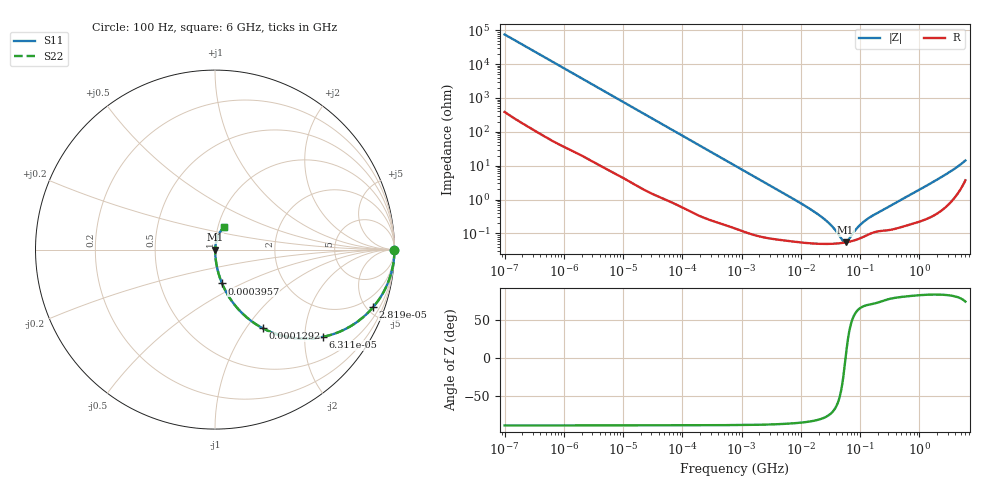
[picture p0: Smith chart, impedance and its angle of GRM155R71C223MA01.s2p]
!Murata Part Number: GRM155R71C223MA01
!These Parameters are Measured in Series Mode Connection
!Data Generated on Mar 30, 2021
!  o--ll--o
!Port1  Port2
!  o------o
!Operation Temp=25[degC], DC Bias Voltage=0[V]
!Freq. Start=100[Hz] Stop=6[GHz] 401[Steps]
# Hz S RI R 50
!Freq.(Hz) S11(Real) S11(Imag) S21(Real) S21(Imag) S12(Real) S12(Imag) S22(Real) S22(Imag)
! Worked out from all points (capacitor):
!   401 points, 100 Hz to 6 GHz, reference 50 ohm
!   read as one part in series: C = 21 nF near 109 Hz
!   lowest |Z| = 53.8 mohm at 56.99 MHz (marker M1)
!   series resonance near 56.94 MHz, so ESL is about 370 pH
!   S11 on the Smith chart (normalised r, x): 100 Hz: open; 28.19 kHz: 1.03, -5.47; 63.12 kHz: 1.02, -2.45; 129.2 kHz: 1.01, -1.20; 395.7 kHz: 1.00, -0.39; 6 GHz: 1.07, +0.28
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100  1 -0.00132  8.5e-06 0.00132  8.5e-06 0.00132  1 -0.00132
2008  0.9992 -0.0263  0.000828 0.0263  0.000828 0.0263  0.9992 -0.0263
8801  0.9864 -0.113  0.0136 0.113  0.0136 0.113  0.9864 -0.113
28191  0.8805 -0.3215  0.1195 0.3215  0.1195 0.3215  0.8805 -0.3215
40335  0.7838 -0.4085  0.2162 0.4085  0.2162 0.4085  0.7838 -0.4085
63115  0.5992 -0.4866  0.4008 0.4866  0.4008 0.4866  0.5992 -0.4866
129199  0.2664 -0.4382  0.7336 0.4382  0.7336 0.4382  0.2664 -0.4382
211427  0.121 -0.322  0.879 0.322  0.879 0.322  0.121 -0.322
395726  0.0391 -0.1887  0.9609 0.1887  0.9609 0.1887  0.0391 -0.1887
774597  0.0114 -0.0997  0.9886 0.0997  0.9886 0.0997  0.0114 -0.0997
2481164  0.00175 -0.0316  0.9983 0.0316  0.9983 0.0316  0.00175 -0.0316
1.555665e7  0.000524 -0.00475  0.9995 0.00475  0.9995 0.00475  0.000524 -0.00475
2.911731e7  0.000491 -0.00203  0.9995 0.00203  0.9995 0.00203  0.000491 -0.00203
3.80911e7  0.000498 -0.00116  0.9995 0.00116  0.9995 0.00116  0.000498 -0.00116
4.983056e7  0.000519 -0.000374  0.9995 0.000374  0.9995 0.000374  0.000519 -0.000374
5.699437e7  0.000538 2.7e-06  0.9995 -2.7e-06  0.9995 -2.7e-06  0.000538 2.7e-06
6.233367e7  0.000553 0.000252  0.9994 -0.000252  0.9994 -0.000252  0.000553 0.000252
8.527865e7  0.000642 0.00114  0.9994 -0.00114  0.9994 -0.00114  0.000642 0.00114
1.166697e8  0.000804 0.00209  0.9992 -0.00209  0.9992 -0.00209  0.000804 0.00209
3.124326e8  0.00129 0.00613  0.9987 -0.00613  0.9987 -0.00613  0.00129 0.00613
2.048624e9  0.00547 0.0392  0.9945 -0.0392  0.9945 -0.0392  0.00547 0.0392
6e9  0.0523 0.1257  0.9477 -0.1257  0.9477 -0.1257  0.0523 0.1257
